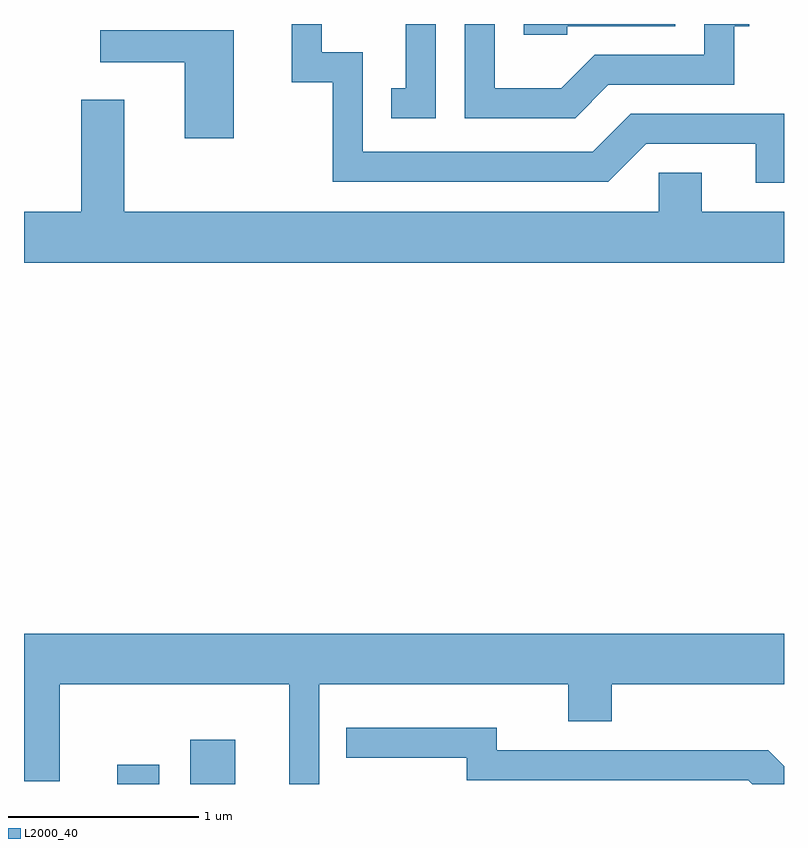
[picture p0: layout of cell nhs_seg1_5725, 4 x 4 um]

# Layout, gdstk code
import gdstk
lib = gdstk.Library(unit=1e-6, precision=1e-09)
def R(c, l, rs):  # rectangles x0, y0, x1, y1
    for r in rs: c.add(gdstk.rectangle(r[:2], r[2:], *l))
def P(c, l, *ps):  # polygons
    for p in ps: c.add(gdstk.Polygon(p, *l))
L2000_40 = (2000, 40)

nhs_seg1_5725 = lib.new_cell('nhs_seg1_5725')
R(nhs_seg1_5725, L2000_40, [(358.101,905.712,358.324,905.814), (358.486,905.712,358.724,905.944)])
P(nhs_seg1_5725, L2000_40, [(361.611,909.239),(360.804,909.239),(360.604,909.039),(359.394,909.039),(359.394,909.564),(359.179,909.564),(359.179,909.712),(359.021,909.712),(359.021,909.406),(359.236,909.406),(359.236,908.881),(360.687,908.881),(360.887,909.081),(361.461,909.081),(361.461,908.876),(361.611,908.876)],
  [(360.469,909.701),(361.039,909.701),(361.039,909.712),(360.241,909.712),(360.241,909.656),(360.469,909.656)],
  [(360.687,909.391),(361.349,909.391),(361.349,909.701),(361.428,909.701),(361.428,909.712),(361.191,909.712),(361.191,909.549),(360.614,909.549),(360.439,909.374),(360.089,909.374),(360.089,909.712),(359.931,909.712),(359.931,909.216),(360.512,909.216)],
  [(359.779,909.712),(359.621,909.712),(359.621,909.374),(359.543,909.374),(359.543,909.216),(359.779,909.216)],
  [(358.714,909.679),(358.013,909.679),(358.013,909.511),(358.456,909.511),(358.456,909.111),(358.714,909.111)],
  [(361.611,908.724),(361.179,908.724),(361.179,908.929),(360.951,908.929),(360.951,908.724),(358.139,908.724),(358.139,909.314),(357.911,909.314),(357.911,908.724),(357.611,908.724),(357.611,908.456),(361.611,908.456)],
  [(357.611,905.726),(357.799,905.726),(357.799,906.236),(359.006,906.236),(359.006,905.712),(359.164,905.712),(359.164,906.236),(360.476,906.236),(360.476,906.041),(360.704,906.041),(360.704,906.236),(361.611,906.236),(361.611,906.504),(357.611,906.504)],
  [(361.611,905.805),(361.527,905.889),(360.099,905.889),(360.099,906.009),(359.308,906.009),(359.308,905.851),(359.941,905.851),(359.941,905.731),(361.424,905.731),(361.443,905.712),(361.611,905.712)])

lib.write_gds('nhs_seg1_5725.gds')
